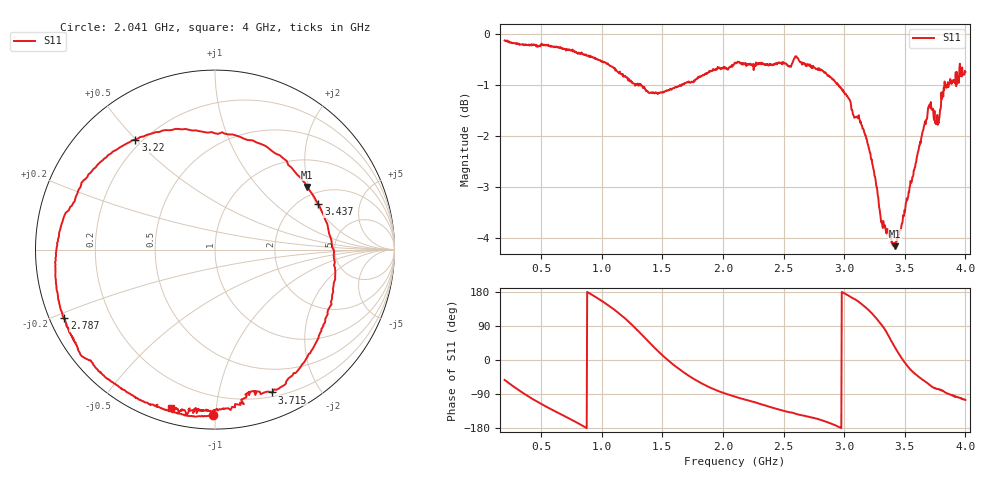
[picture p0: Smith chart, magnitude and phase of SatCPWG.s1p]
# MHz S MA R 50
!  freq  S11
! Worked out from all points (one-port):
!   1000 points, 200 MHz to 4 GHz, reference 50 ohm
!   lowest |S11| = -4.2 dB at 3.418 GHz (marker M1), VSWR 4.25, Z = 85.4 + j96.7 ohm
!   |S11| at or under -10 dB: nowhere
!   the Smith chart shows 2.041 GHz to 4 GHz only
!   S11 on the Smith chart (normalised r, x): 2.041 GHz: 0.08, -0.98; 2.787 GHz: 0.04, -0.22; 3.22 GHz: 0.17, +0.50; 3.437 GHz: 2.49, +2.07; 3.715 GHz: 0.24, -1.45; 4 GHz: 0.07, -0.76
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200  0.9853 -52.6
302.703  0.9781 -76.5
409.209  0.9754 -98.7
542.342  0.9745 -123.0
675.475  0.9685 -145.0
820.02  0.9561 -169.4
934.134  0.9477 169.5
1044.444  0.9341 146.7
1150.951  0.9183 121.1
1242.242  0.8993 95.2
1333.534  0.8894 66.3
1478.078  0.8755 19.5
1626.426  0.8868 -20.6
1820.42  0.9085 -60.6
2041.041  0.9223 -90.8
2101.902  0.9374 -96.9
2577.377  0.9393 -139.5
2786.587  0.9218 -155.7
3052.853  0.8576 166.3
3136.537  0.8203 149.3
3220.22  0.7563 125.9
3341.942  0.6434 77.3
3418.018  0.619 34.4
3437.037  0.629 23.6
3528.328  0.6925 -18.4
3714.715  0.8573 -68.2
3847.848  0.8913 -87.9
4000  0.9181 -105.4
